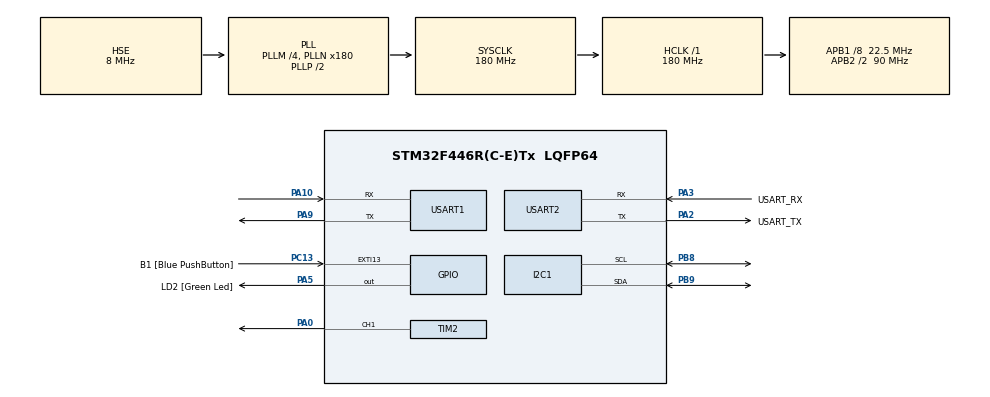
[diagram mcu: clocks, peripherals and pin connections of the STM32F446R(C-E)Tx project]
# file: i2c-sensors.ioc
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FREERTOS.Tasks01=sensorsReadTask,0,512,StartSensorsReadTask,Default,NULL,Dynamic,NULL,NULL;outputTask,0,512,StartOutputTask,Default,NULL,Dynamic,NULL,NULL
FREERTOS.configUSE_NEWLIB_REENTRANT=1
Mcu.Family=STM32F4
Mcu.Name=STM32F446R(C-E)Tx
Mcu.Package=LQFP64
NVIC.PriorityGroup=NVIC_PRIORITYGROUP_4
NVIC.TIM2_IRQn=true\:5\:0\:false\:false\:true\:true\:true\:true\:true
PA0-WKUP.Signal=S_TIM2_CH1_ETR
PA10.Mode=Asynchronous
PA10.Signal=USART1_RX
PA13.GPIO_Label=TMS
PA13.Mode=Serial_Wire
PA13.Signal=SYS_JTMS-SWDIO
PA14.GPIO_Label=TCK
PA14.Mode=Serial_Wire
PA14.Signal=SYS_JTCK-SWCLK
PA2.GPIO_Label=USART_TX
PA2.Mode=Asynchronous
PA2.Signal=USART2_TX
PA3.GPIO_Label=USART_RX
PA3.Mode=Asynchronous
PA3.Signal=USART2_RX
PA5.GPIO_Label=LD2 [Green Led]
PA5.Signal=GPIO_Output
PA9.Mode=Asynchronous
PA9.Signal=USART1_TX
PB3.GPIO_Label=SWO
PB3.Signal=SYS_JTDO-SWO
PB8.Mode=I2C
PB8.Signal=I2C1_SCL
PB9.Mode=I2C
PB9.Signal=I2C1_SDA
PC13.GPIO_Label=B1 [Blue PushButton]
PC13.GPIO_ModeDefaultEXTI=GPIO_MODE_IT_FALLING
PC13.Signal=GPXTI13
PC14-OSC32_IN.Mode=LSE-External-Oscillator
PC14-OSC32_IN.Signal=RCC_OSC32_IN
PC15-OSC32_OUT.Mode=LSE-External-Oscillator
PC15-OSC32_OUT.Signal=RCC_OSC32_OUT
PH0-OSC_IN.Mode=HSE-External-Oscillator
PH0-OSC_IN.Signal=RCC_OSC_IN
PH1-OSC_OUT.Mode=HSE-External-Oscillator
PH1-OSC_OUT.Signal=RCC_OSC_OUT
ProjectManager.HeapSize=0x200
ProjectManager.StackSize=0x400
ProjectManager.TargetToolchain=STM32CubeIDE
RCC.48MHZClocksFreq_Value=84000000
RCC.AHBFreq_Value=180000000
RCC.APB1CLKDivider=RCC_HCLK_DIV8
RCC.APB1Freq_Value=22500000
RCC.APB1TimFreq_Value=45000000
RCC.APB2CLKDivider=RCC_HCLK_DIV2
RCC.APB2Freq_Value=90000000
RCC.APB2TimFreq_Value=180000000
RCC.CortexFreq_Value=180000000
RCC.FLatency-AdvancedSettings=FLASH_LATENCY_5
RCC.HCLKFreq_Value=180000000
RCC.HSE_VALUE=8000000
RCC.HSI_VALUE=16000000
RCC.PLLM=4
RCC.PLLN=180
RCC.PLLSourceVirtual=RCC_PLLSOURCE_HSE
RCC.SYSCLKFreq_VALUE=180000000
RCC.SYSCLKSource=RCC_SYSCLKSOURCE_PLLCLK
RCC.USBFreq_Value=180000000
RCC.VCOOutputFreq_Value=360000000
SH.S_TIM2_CH1_ETR.0=TIM2_CH1,PWM Generation1 CH1
TIM2.Channel-PWM\ Generation1\ CH1=TIM_CHANNEL_1
TIM2.Period=1000-1
TIM2.Prescaler=900-1
USART1.VirtualMode=VM_ASYNC
USART2.VirtualMode=VM_ASYNC
VP_FREERTOS_VS_CMSIS_V1.Mode=CMSIS_V1
VP_TIM2_VS_ClockSourceINT.Mode=Internal
board=NUCLEO-F446RE

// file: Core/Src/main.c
/* USER CODE BEGIN Header */
/**
  ******************************************************************************
  * @file           : main.c
  * @brief          : Main program body
  ******************************************************************************
  * @attention
  *
  * Copyright (c) 2024 STMicroelectronics.
  * All rights reserved.
  *
  * This software is licensed under terms that can be found in the LICENSE file
  * in the root directory of this software component.
  * If no LICENSE file comes with this software, it is provided AS-IS.
  *
  ******************************************************************************
  */
/* USER CODE END Header */
#include "main.h"
#include "cmsis_os.h"

/* USER CODE BEGIN Includes */

#include <stdio.h>
#include <string.h>
#include <math.h>
#include "barometer.h"
#include "compass.h"
#include "accelerometer.h"

/* USER CODE END Includes */

I2C_HandleTypeDef hi2c1;

TIM_HandleTypeDef htim2;

UART_HandleTypeDef huart1;
UART_HandleTypeDef huart2;

osThreadId sensorsReadTaskHandle;
osThreadId outputTaskHandle;

void SystemClock_Config(void);

static void MX_GPIO_Init(void);

static void MX_USART2_UART_Init(void);

static void MX_I2C1_Init(void);

static void MX_USART1_UART_Init(void);

static void MX_TIM2_Init(void);

void StartSensorsReadTask(void const *argument);

void StartOutputTask(void const *argument);

/* USER CODE BEGIN PFP */

void println(char *msg);

void rotateServo(double angle);

void testServo();

void visualizeDeclination(double declination);

void visualizeRotationSpeed(double rotation);

void visualizePosition(double acceleration);

/* USER CODE END PFP */

int main(void) {

    /* MCU Configuration--------------------------------------------------------*/

    /* Reset of all peripherals, Initializes the Flash interface and the Systick. */
    HAL_Init();

    /* Configure the system clock */
    SystemClock_Config();

    /* Initialize all configured peripherals */
    MX_GPIO_Init();
    MX_USART2_UART_Init();
    MX_I2C1_Init();
    MX_USART1_UART_Init();
    MX_TIM2_Init();
    /* USER CODE BEGIN 2 */

    HAL_TIM_PWM_Start(&htim2, TIM_CHANNEL_1);
    configureMPU(hi2c1);
    configureCompass(hi2c1);

    /* USER CODE END 2 */

    /* Create the thread(s) */
    /* definition and creation of sensorsReadTask */
    osThreadDef(sensorsReadTask, StartSensorsReadTask, osPriorityNormal, 0, 512);
    sensorsReadTaskHandle = osThreadCreate(osThread(sensorsReadTask), NULL);

    /* definition and creation of outputTask */
    osThreadDef(outputTask, StartOutputTask, osPriorityNormal, 0, 512);
    outputTaskHandle = osThreadCreate(osThread(outputTask), NULL);

    /* Start scheduler */
    osKernelStart();

    /* We should never get here as control is now taken by the scheduler */

    /* Infinite loop */
    while (1) {

    }
}

void SystemClock_Config(void) {
    RCC_OscInitTypeDef RCC_OscInitStruct = {0};
    RCC_ClkInitTypeDef RCC_ClkInitStruct = {0};

    /** Configure the main internal regulator output voltage
    */
    __HAL_RCC_PWR_CLK_ENABLE();
    __HAL_PWR_VOLTAGESCALING_CONFIG(PWR_REGULATOR_VOLTAGE_SCALE1);

    /** Initializes the RCC Oscillators according to the specified parameters
    * in the RCC_OscInitTypeDef structure.
    */
    RCC_OscInitStruct.OscillatorType = RCC_OSCILLATORTYPE_HSE;
    RCC_OscInitStruct.HSEState = RCC_HSE_ON;
    RCC_OscInitStruct.PLL.PLLState = RCC_PLL_ON;
    RCC_OscInitStruct.PLL.PLLSource = RCC_PLLSOURCE_HSE;
    RCC_OscInitStruct.PLL.PLLM = 4;
    RCC_OscInitStruct.PLL.PLLN = 180;
    RCC_OscInitStruct.PLL.PLLP = RCC_PLLP_DIV2;
    RCC_OscInitStruct.PLL.PLLQ = 2;
    RCC_OscInitStruct.PLL.PLLR = 2;
    if (HAL_RCC_OscConfig(&RCC_OscInitStruct) != HAL_OK) {
        Error_Handler();
    }

    /** Activate the Over-Drive mode
    */
    if (HAL_PWREx_EnableOverDrive() != HAL_OK) {
        Error_Handler();
    }

    /** Initializes the CPU, AHB and APB buses clocks
    */
    RCC_ClkInitStruct.ClockType = RCC_CLOCKTYPE_HCLK | RCC_CLOCKTYPE_SYSCLK
                                  | RCC_CLOCKTYPE_PCLK1 | RCC_CLOCKTYPE_PCLK2;
    RCC_ClkInitStruct.SYSCLKSource = RCC_SYSCLKSOURCE_PLLCLK;
    RCC_ClkInitStruct.AHBCLKDivider = RCC_SYSCLK_DIV1;
    RCC_ClkInitStruct.APB1CLKDivider = RCC_HCLK_DIV8;
    RCC_ClkInitStruct.APB2CLKDivider = RCC_HCLK_DIV2;

    if (HAL_RCC_ClockConfig(&RCC_ClkInitStruct, FLASH_LATENCY_5) != HAL_OK) {
        Error_Handler();
    }
}

static void MX_I2C1_Init(void) {

    hi2c1.Instance = I2C1;
    hi2c1.Init.ClockSpeed = 100000;
    hi2c1.Init.DutyCycle = I2C_DUTYCYCLE_2;
    hi2c1.Init.OwnAddress1 = 0;
    hi2c1.Init.AddressingMode = I2C_ADDRESSINGMODE_7BIT;
    hi2c1.Init.DualAddressMode = I2C_DUALADDRESS_DISABLE;
    hi2c1.Init.OwnAddress2 = 0;
    hi2c1.Init.GeneralCallMode = I2C_GENERALCALL_DISABLE;
    hi2c1.Init.NoStretchMode = I2C_NOSTRETCH_DISABLE;
    if (HAL_I2C_Init(&hi2c1) != HAL_OK) {
        Error_Handler();
    }

}

static void MX_TIM2_Init(void) {

    TIM_ClockConfigTypeDef sClockSourceConfig = {0};
    TIM_MasterConfigTypeDef sMasterConfig = {0};
    TIM_OC_InitTypeDef sConfigOC = {0};

    htim2.Instance = TIM2;
    htim2.Init.Prescaler = 900 - 1;
    htim2.Init.CounterMode = TIM_COUNTERMODE_UP;
    htim2.Init.Period = 1000 - 1;
    htim2.Init.ClockDivision = TIM_CLOCKDIVISION_DIV1;
    htim2.Init.AutoReloadPreload = TIM_AUTORELOAD_PRELOAD_DISABLE;
    if (HAL_TIM_Base_Init(&htim2) != HAL_OK) {
        Error_Handler();
    }
    sClockSourceConfig.ClockSource = TIM_CLOCKSOURCE_INTERNAL;
    if (HAL_TIM_ConfigClockSource(&htim2, &sClockSourceConfig) != HAL_OK) {
        Error_Handler();
    }
    if (HAL_TIM_PWM_Init(&htim2) != HAL_OK) {
        Error_Handler();
    }
    sMasterConfig.MasterOutputTrigger = TIM_TRGO_RESET;
    sMasterConfig.MasterSlaveMode = TIM_MASTERSLAVEMODE_DISABLE;
    if (HAL_TIMEx_MasterConfigSynchronization(&htim2, &sMasterConfig) != HAL_OK) {
        Error_Handler();
    }
    sConfigOC.OCMode = TIM_OCMODE_PWM1;
    sConfigOC.Pulse = 0;
    sConfigOC.OCPolarity = TIM_OCPOLARITY_HIGH;
    sConfigOC.OCFastMode = TIM_OCFAST_DISABLE;
    if (HAL_TIM_PWM_ConfigChannel(&htim2, &sConfigOC, TIM_CHANNEL_1) != HAL_OK) {
        Error_Handler();
    }
    HAL_TIM_MspPostInit(&htim2);

}

static void MX_USART1_UART_Init(void) {

    huart1.Instance = USART1;
    huart1.Init.BaudRate = 115200;
    huart1.Init.WordLength = UART_WORDLENGTH_8B;
    huart1.Init.StopBits = UART_STOPBITS_1;
    huart1.Init.Parity = UART_PARITY_NONE;
    huart1.Init.Mode = UART_MODE_TX_RX;
    huart1.Init.HwFlowCtl = UART_HWCONTROL_NONE;
    huart1.Init.OverSampling = UART_OVERSAMPLING_16;
    if (HAL_UART_Init(&huart1) != HAL_OK) {
        Error_Handler();
    }

}

static void MX_USART2_UART_Init(void) {

    huart2.Instance = USART2;
    huart2.Init.BaudRate = 115200;
    huart2.Init.WordLength = UART_WORDLENGTH_8B;
    huart2.Init.StopBits = UART_STOPBITS_1;
    huart2.Init.Parity = UART_PARITY_NONE;
    huart2.Init.Mode = UART_MODE_TX_RX;
    huart2.Init.HwFlowCtl = UART_HWCONTROL_NONE;
    huart2.Init.OverSampling = UART_OVERSAMPLING_16;
    if (HAL_UART_Init(&huart2) != HAL_OK) {
        Error_Handler();
    }

}

static void MX_GPIO_Init(void) {
    GPIO_InitTypeDef GPIO_InitStruct = {0};

    /* GPIO Ports Clock Enable */
    __HAL_RCC_GPIOC_CLK_ENABLE();
    __HAL_RCC_GPIOH_CLK_ENABLE();
    __HAL_RCC_GPIOA_CLK_ENABLE();
    __HAL_RCC_GPIOB_CLK_ENABLE();

    /*Configure GPIO pin Output Level */
    HAL_GPIO_WritePin(LD2_GPIO_Port, LD2_Pin, GPIO_PIN_RESET);

    /*Configure GPIO pin : B1_Pin */
    GPIO_InitStruct.Pin = B1_Pin;
    GPIO_InitStruct.Mode = GPIO_MODE_IT_FALLING;
    GPIO_InitStruct.Pull = GPIO_NOPULL;
    HAL_GPIO_Init(B1_GPIO_Port, &GPIO_InitStruct);

    /*Configure GPIO pin : LD2_Pin */
    GPIO_InitStruct.Pin = LD2_Pin;
    GPIO_InitStruct.Mode = GPIO_MODE_OUTPUT_PP;
    GPIO_InitStruct.Pull = GPIO_NOPULL;
    GPIO_InitStruct.Speed = GPIO_SPEED_FREQ_LOW;
    HAL_GPIO_Init(LD2_GPIO_Port, &GPIO_InitStruct);

}

/* USER CODE BEGIN 4 */

void println(char *msg) {
    HAL_UART_Transmit(&huart1, (uint8_t *) msg, strlen(msg), HAL_MAX_DELAY);
}

void rotateServo(double angle) {
    double degreesInOneStep = 180.0 / (125 - 25);

    int value = (int) (angle / degreesInOneStep) + 25;

    htim2.Instance->CCR1 = value;
}

void testServo() {
    rotateServo(0);
    println("Rotate servo 0 \r\n");
    osDelay(1000);
    rotateServo(90);
    println("Rotate servo 90 \r\n");
    osDelay(1000);
    rotateServo(180);
    println("Rotate servo 180 \r\n");
    osDelay(1000);
    rotateServo(90);
    println("Servo ready \r\n");
}

void visualizeDeclination(double declination) {
    if (declination > 180) {
        double adjusted = ((360 - declination) / 2) + 90;
        rotateServo(adjusted);
    } else {
        double adjusted = 90 - (declination / 2);
        rotateServo(adjusted);
    }
}

void visualizeRotationSpeed(double rotation) {
    double adjusted = 90 + rotation * 10;
    rotateServo(adjusted);
}

void visualizePosition(double rotation) {
    double adjusted = (rotation + 1) * 90;
    rotateServo(adjusted);
}

/* USER CODE END 4 */

void StartSensorsReadTask(void const *argument) {
    /* USER CODE BEGIN 5 */

    int gyroAccelerometerReady = isAccelerometerReady(hi2c1, huart1);
    int barometerReady = isBarometerReady(hi2c1, huart1);
    int compassReady = isCompassReady(hi2c1, huart1);

    char msg[75] = {'\0'};

    if (!gyroAccelerometerReady || !barometerReady || !compassReady) {
        println("[ERROR] At least one of devices is not ready. Stopping application... \r\n");

        osDelay(1000);

        return;
    } else {
        println("===================== \r\n");
        println("All devices are ready \r\n");
        println("===================== \r\n");
    }

    long startPressure = getPressureAvg(hi2c1, 10, 100);
    double startAltitude = computeAltitude(startPressure);

    testServo();

    osDelay(1000);
    /* Infinite loop */
    for (;;) {
        println("===================== \r\n");

        struct AccelerometerData accData = getAccelerometerData(hi2c1);

        sprintf(msg, "X acceleration: %.3f g \r\n", accData.xAcc);
        println(msg);
        sprintf(msg, "Y acceleration: %.3f g \r\n", accData.yAcc);
        println(msg);
        sprintf(msg, "Z acceleration: %.3f g \r\n", accData.zAcc);
        println(msg);

        sprintf(msg, "temperature: %.3f C \r\n", accData.temp);
        println(msg);

        sprintf(msg, "X rotation: %.3f %% \r\n", accData.xGyro);
        println(msg);
        sprintf(msg, "Y rotation: %.3f %% \r\n", accData.yGyro);
        println(msg);
        sprintf(msg, "Z rotation: %.3f %% \r\n", accData.zGyro);
        println(msg);

        println("===================== \r\n");

        long p = getPressureAvg(hi2c1, 3, 10);
        double altitude = computeAltitude(p);

        sprintf(msg, "Pressure: %ld Pa \r\n", p);
        println(msg);
        sprintf(msg, "Estimated altitude: %.3f m above sea level \r\n", altitude);
        println(msg);
        sprintf(msg, "Altitude change: %.2f m \r\n", (altitude - startAltitude));
        println(msg);

        println("===================== \r\n");

        double degrees = getHeadingDegrees(hi2c1);

        sprintf(msg, "Declination degrees: %.3f \r\n", degrees);
        println(msg);

        println("===================== \r\n");

//        visualizeDeclination(degrees);
        visualizePosition(accData.xAcc);
//        visualizePosition(accData.yAcc);
//        visualizePosition(accData.zAcc);
//        visualizeRotationSpeed(accData.xGyro);
//        visualizeRotationSpeed(accData.yGyro);
//        visualizeRotationSpeed(accData.zGyro);

        osDelay(500);
    }
    /* USER CODE END 5 */
}

void StartOutputTask(void const *argument) {
    for (;;) {
        osDelay(1);
    }
}

void Error_Handler(void) {
    __disable_irq();
    while (1) {
    }
}
